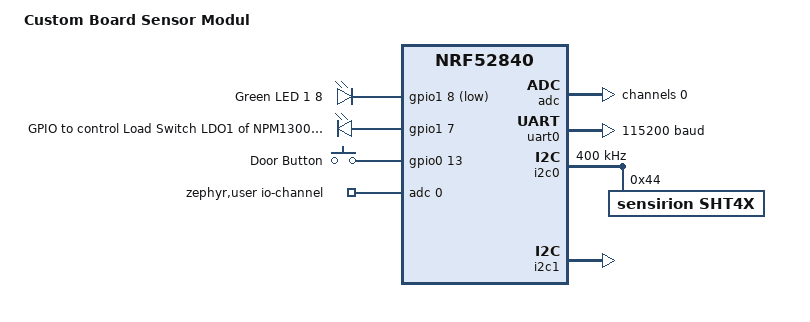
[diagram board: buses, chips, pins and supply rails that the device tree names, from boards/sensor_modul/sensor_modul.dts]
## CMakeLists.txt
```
#-------------------------------------------------------------------------------
# Zephyr Example Application
#
# Copyright (c) 2021 Nordic Semiconductor ASA
# SPDX-License-Identifier: Apache-2.0

#Re-direct the directory where the 'boards' directory is found from
#$ZEPHYR_BASE to this directory.
list(APPEND BOARD_ROOT ${CMAKE_CURRENT_SOURCE_DIR})
set(BOARD sensor_modul)
set(BOARD_FLASH_RUNNER pyocd)

cmake_minimum_required(VERSION 3.20.0)
find_package(Zephyr REQUIRED HINTS $ENV{ZEPHYR_BASE})

project(app LANGUAGES C)


target_sources(app PRIVATE
  src/main.c
  src/pmic.c
  src/sensors.c
  src/error_flags.c
)

zephyr_include_directories(include)
```

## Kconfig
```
# Copyright (c) 2021 Nordic Semiconductor ASA
# SPDX-License-Identifier: Apache-2.0
#
# This file is the application Kconfig entry point. All application Kconfig
# options can be defined here or included via other application Kconfig files.
# You can browse these options using the west targets menuconfig (terminal) or
# guiconfig (GUI).

menu "Zephyr"

config APP_USE_COMPENSATION
    bool "Use the T/RH compensation feature of the SGP40"
    default y

config APP_USE_HEATER
    bool "Use the Heater on the SHT4X"
    default n
    help
        Maximum duty cycle for using the heater is 5%

config APP_HEATER_HUMIDITY_THRESH
    int "RH [%] threshold above which the heater will be activated"
    range 0 99
    default 65
    depends on APP_USE_HEATER

config APP_HEATER_PULSE_POWER
    int "Heater Power Setting"
    range 0 2
    default 2
    depends on APP_USE_HEATER
    help
        0 -> High power heater pulse -> ~200 mW  @3.3V
        1 -> Medium power heater pulse -> ~110 mW  @3.3V
        2 -> Low power heater pulse -> ~20 mW  @3.3V

config APP_HEATER_PULSE_DURATION
    int "Heater Pulse Length Setting"
    range 0 1
    default 1
    depends on APP_USE_HEATER
    help
        0 -> Long heater pulse -> 1.1s
        1 -> Short heater pulse -> 0.11s

source "Kconfig.zephyr"
endmenu

module = APP
module-str = APP
source "subsys/logging/Kconfig.template.log_config"
```

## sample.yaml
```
# This file is provided so that the application can be compiled using Twister,
# the Zephyr testing tool. In this file, multiple combinations can be specified,
# so that you can easily test all of them locally or in CI.
sample:
  name: SensorNode_Modul
  description: Sensor Node with multiple sensors and BLE capabilities
  version: 1.0.0
  maintainer: Paul
  license: Apache-2.0
tests:
  sample.basic.blinky:
    tags:
      - LED
      - gpio
    filter: dt_enabled_alias_with_parent_compat("led0", "gpio-leds")
    depends_on: gpio
    harness: led
    integration_platforms:
      - frdm_k64f
```

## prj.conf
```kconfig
# Copyright (c) 2021 Nordic Semiconductor ASA
# SPDX-License-Identifier: Apache-2.0
#
# This file contains selected Kconfig options for the application.
CONFIG_GPIO=y

CONFIG_BT=y
CONFIG_BT_PERIPHERAL=y
CONFIG_BT_DEVICE_NAME="SN2"
# needed for longer ble advertisement data 
CONFIG_BT_EXT_ADV=y

CONFIG_REGULATOR=y

#CONFIG_LOG=y

# enable to use thread names
CONFIG_THREAD_NAME=y
CONFIG_SCHED_CPU_MASK=y
CONFIG_THREAD_ANALYZER=y

CONFIG_I2C=y
CONFIG_SENSOR=y
#CONFIG_SENSOR_LOG_LEVEL_DBG=y

CONFIG_PM=y
CONFIG_PM_DEVICE=y

# Enable logging for printk
CONFIG_LOG_PRINTK=y

CONFIG_SHELL=n
CONFIG_I2C_SHELL=n

# Increase stack size for the main thread and System Workqueue
CONFIG_SYSTEM_WORKQUEUE_STACK_SIZE=2048
CONFIG_MAIN_STACK_SIZE=2048

# Enable floating point format specifiers
CONFIG_CBPRINTF_FP_SUPPORT=y


# enable ADC
CONFIG_ADC=y

# fuel gauge enabled
#CONFIG_NRF_FUEl_GAUGE=y
```

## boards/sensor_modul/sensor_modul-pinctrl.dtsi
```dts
/*
 * Copyright (c) 2022 Nordic Semiconductor
 * SPDX-License-Identifier: Apache-2.0
 */

 &pinctrl {
	uart0_default: uart0_default {
		group1 {
			psels = <NRF_PSEL(UART_TX, 0, 6)>,
					<NRF_PSEL(UART_RTS, 0, 5)>;
		};
		group2 {
			psels = <NRF_PSEL(UART_RX, 0, 8)>,
				<NRF_PSEL(UART_CTS, 0, 7)>;
			bias-pull-up;
		};
	};

	uart0_sleep: uart0_sleep {
		group1 {
			psels = <NRF_PSEL(UART_TX, 0, 6)>,
				<NRF_PSEL(UART_RX, 0, 8)>,
				<NRF_PSEL(UART_RTS, 0, 5)>,
				<NRF_PSEL(UART_CTS, 0, 7)>;
			low-power-enable;
		};
	};

	uart1_default: uart1_default {
		group1 {
			psels = <NRF_PSEL(UART_RX, 1, 1)>;
			bias-pull-up;
		};
		group2 {
			psels = <NRF_PSEL(UART_TX, 1, 2)>;
		};
	};

	uart1_sleep: uart1_sleep {
		group1 {
			psels = <NRF_PSEL(UART_RX, 1, 1)>,
				<NRF_PSEL(UART_TX, 1, 2)>;
			low-power-enable;
		};
	};

	i2c0_default: i2c0_default {
		group1 {
			psels = <NRF_PSEL(TWIM_SDA, 0, 22)>,
				<NRF_PSEL(TWIM_SCL, 0, 20)>;
		};
	};

	i2c0_sleep: i2c0_sleep {
		group1 {
			psels = <NRF_PSEL(TWIM_SDA, 0, 22)>,
				<NRF_PSEL(TWIM_SCL, 0, 20)>;
			low-power-enable;
		};
	};

	i2c1_default: i2c1_default {
		group1 {
			psels = <NRF_PSEL(TWIM_SDA, 0, 15)>, // default: 30
				<NRF_PSEL(TWIM_SCL, 0, 17)>; // default: 31
		};
	};

	i2c1_sleep: i2c1_sleep {
		group1 {
			psels = <NRF_PSEL(TWIM_SDA, 0, 15)>, // default: 30
				<NRF_PSEL(TWIM_SCL, 0, 17)>; // default: 31
			low-power-enable;
		};
	};

	pwm0_default: pwm0_default {
		group1 {
			psels = <NRF_PSEL(PWM_OUT0, 0, 13)>;
			nordic,invert;
		};
	};

	pwm0_sleep: pwm0_sleep {
		group1 {
			psels = <NRF_PSEL(PWM_OUT0, 0, 13)>;
			low-power-enable;
		};
	};

	spi0_default: spi0_default {
		group1 {
			psels = <NRF_PSEL(SPIM_SCK, 0, 27)>,
				<NRF_PSEL(SPIM_MOSI, 0, 26)>,
				<NRF_PSEL(SPIM_MISO, 0, 29)>;
		};
	};

	spi0_sleep: spi0_sleep {
		group1 {
			psels = <NRF_PSEL(SPIM_SCK, 0, 27)>,
				<NRF_PSEL(SPIM_MOSI, 0, 26)>,
				<NRF_PSEL(SPIM_MISO, 0, 29)>;
			low-power-enable;
		};
	};

	spi1_default: spi1_default {
		group1 {
			psels = <NRF_PSEL(SPIM_SCK, 0, 31)>,
				<NRF_PSEL(SPIM_MOSI, 0, 30)>,
				<NRF_PSEL(SPIM_MISO, 1, 8)>;
		};
	};

	spi1_sleep: spi1_sleep {
		group1 {
			psels = <NRF_PSEL(SPIM_SCK, 0, 31)>,
				<NRF_PSEL(SPIM_MOSI, 0, 30)>,
				<NRF_PSEL(SPIM_MISO, 1, 8)>;
			low-power-enable;
		};
	};

	spi2_default: spi2_default {
		group1 {
			psels = <NRF_PSEL(SPIM_SCK, 0, 19)>,
				<NRF_PSEL(SPIM_MOSI, 0, 20)>,
				<NRF_PSEL(SPIM_MISO, 0, 21)>;
		};
	};

	spi2_sleep: spi2_sleep {
		group1 {
			psels = <NRF_PSEL(SPIM_SCK, 0, 19)>,
				<NRF_PSEL(SPIM_MOSI, 0, 20)>,
				<NRF_PSEL(SPIM_MISO, 0, 21)>;
			low-power-enable;
		};
	};

	qspi_default: qspi_default {
		group1 {
			psels = <NRF_PSEL(QSPI_SCK, 0, 19)>,
				<NRF_PSEL(QSPI_IO0, 0, 20)>,
				<NRF_PSEL(QSPI_IO1, 0, 21)>,
				<NRF_PSEL(QSPI_IO2, 0, 22)>,
				<NRF_PSEL(QSPI_IO3, 0, 23)>,
				<NRF_PSEL(QSPI_CSN, 0, 17)>;
			nordic,drive-mode = <NRF_DRIVE_H0H1>;
		};
	};

	qspi_sleep: qspi_sleep {
		group1 {
			psels = <NRF_PSEL(QSPI_SCK, 0, 19)>,
				<NRF_PSEL(QSPI_IO0, 0, 20)>,
				<NRF_PSEL(QSPI_IO1, 0, 21)>,
				<NRF_PSEL(QSPI_IO2, 0, 22)>,
				<NRF_PSEL(QSPI_IO3, 0, 23)>;
			low-power-enable;
		};
		group2 {
			psels = <NRF_PSEL(QSPI_CSN, 0, 17)>;
			low-power-enable;
			bias-pull-up;
		};
	};

	spi3_default: spi3_default {
		group1 {
			psels = <NRF_PSEL(SPIM_SCK, 1, 15)>,
				<NRF_PSEL(SPIM_MISO, 1, 14)>,
				<NRF_PSEL(SPIM_MOSI, 1, 13)>;
		};
	};

	spi3_sleep: spi3_sleep {
		group1 {
			psels = <NRF_PSEL(SPIM_SCK, 1, 15)>,
				<NRF_PSEL(SPIM_MISO, 1, 14)>,
				<NRF_PSEL(SPIM_MOSI, 1, 13)>;
			low-power-enable;
		};
	};

};
```

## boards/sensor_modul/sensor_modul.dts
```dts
/*
 * Copyright (c) 2024 Reisch Paul
 *
 * SPDX-License-Identifier: Apache-2.0
 */

/dts-v1/;
#include <nordic/nrf52840_qiaa.dtsi>
#include <nordic/nrf52840_partition.dtsi>
#include "sensor_modul-pinctrl.dtsi"
#include <zephyr/dt-bindings/input/input-event-codes.h>
#include <dt-bindings/regulator/npm1300.h>

/ {
	model = "Custom Board Sensor Modul";
	compatible = "others,sensor-modul";
	chosen {
		zephyr,console = &uart0;
		zephyr,shell-uart = &uart0;
		zephyr,uart-mcumgr = &uart0;
		zephyr,bt-mon-uart = &uart0;
		zephyr,bt-c2h-uart = &uart0;
	};

	leds {
		compatible = "gpio-leds";
		led0: led_0 {
			gpios = <&gpio1 8 (GPIO_ACTIVE_LOW)>; //GPIO_ACTIVE_LOW
			label = "Green LED 1 8";
		};
		loadsw0: loadsw_0 {
			gpios = <&gpio1 7 (GPIO_ACTIVE_HIGH | GPIO_PULL_DOWN)>;
			label = "GPIO to control Load Switch LDO1 of NPM1300 (GPIO2)";
		};
		// loadsw1: loadsw_1 {
		// 	gpios = <&gpio0 20 (GPIO_ACTIVE_LOW)>;
		// 	label = "GPIO to test";
		// };
	};

	buttons {
		compatible = "gpio-keys";
		door0: door_0 {
			gpios = <&gpio0 13 GPIO_ACTIVE_HIGH>;
			label = "Door Button";
			zephyr,code = <INPUT_KEY_1>;
		};
	};

	zephyr,user {
		io-channels = <&adc 0>;
	};
	// loadsw {
	// 	compatible = "gpios-keys";

	// };

	/* These aliases are provided for compatibility with samples */
	aliases {
		led0 = &led0;
		bootloader-led0 = &led0;
		mcuboot-led0 = &led0;
		loadsw0 = &loadsw0;
		door0 = &door0;
		// = &loadsw1;
	};
};


&reg0 {
	status = "disabled";
};

&reg1 {
	// regulator-initial-mode = <NRF5X_REG_MODE_DCDC>;
	status = "disabled";
};


&adc {
	status = "okay";
};

&uicr {
	gpio-as-nreset;
};

&gpiote {
	status = "okay";
};

&gpio0 {
	status = "okay";
	wakeup-source;
};

&gpio1 {
	status = "okay";
};

&uart0 {
	compatible = "nordic,nrf-uarte";
	status = "okay";
	current-speed = <115200>;
	pinctrl-0 = <&uart0_default>;
	pinctrl-1 = <&uart0_sleep>;
	pinctrl-names = "default", "sleep";
};

&i2c0 {
	compatible = "nordic,nrf-twi";
	status = "okay";
	/* Arduino compatible PINs */
	pinctrl-0 = <&i2c0_default>;
	pinctrl-1 = <&i2c0_sleep>;
	pinctrl-names = "default", "sleep";
};

&i2c1 {
	compatible = "nordic,nrf-twi";
	status = "disabled";
	/* Arduino compatible PINs */
	pinctrl-0 = <&i2c1_default>;
	pinctrl-1 = <&i2c1_sleep>;
	pinctrl-names = "default", "sleep";
};

// zephyr_udc0: &usbd {
// 	compatible = "nordic,nrf-usbd";
// 	status = "okay";
// 	usb_cdc_acm_uart: cdc-acm-uart {
// 		compatible = "zephyr,cdc-acm-uart";
// 	};
// };


&adc {
	#address-cells = <1>;
	#size-cells = <0>;

	channel@0 {
		reg = <0>;
		zephyr,gain = "ADC_GAIN_1_6";
		zephyr,reference = "ADC_REF_INTERNAL";
		zephyr,acquisition-time = <ADC_ACQ_TIME_DEFAULT>;
		zephyr,input-positive = <NRF_SAADC_AIN0>; 
		zephyr,resolution = <12>;
	};

};


// NPM1300
arduino_i2c: &i2c1 {
	compatible = "nordic,nrf-twi";
	status = "okay";
	pinctrl-0 = <&i2c1_default>;
	pinctrl-1 = <&i2c1_sleep>;
	pinctrl-names = "default", "sleep";
};

&arduino_i2c {
	npm1300_ek_pmic: pmic@6b {
		compatible = "nordic,npm1300";
		reg = <0x6b>;
		// ship-to-active-time = <96>;

		
		// long-press-reset = "one_button";

		npm1300_ek_gpio: gpio-controller {
			compatible = "nordic,npm1300-gpio";
			gpio-controller;
			#gpio-cells = <2>;
			ngpios = <5>;
		};

		npm1300_ek_regulators: regulators {
			compatible = "nordic,npm1300-regulator";

			/* limits are set to min/max allowed values */
			npm1300_ek_buck1: BUCK1 {
				regulator-min-microvolt = <1000000>;
				regulator-max-microvolt = <3300000>;
			};

			npm1300_ek_buck2: BUCK2 {
				regulator-min-microvolt = <1000000>;
				regulator-max-microvolt = <3300000>;
			};

			npm1300_ek_ldo1: LDO1 {
				regulator-min-microvolt = <1000000>;
				regulator-max-microvolt = <3300000>;
			};

			npm1300_ek_ldo2: LDO2 {
				regulator-min-microvolt = <1000000>;
				regulator-max-microvolt = <3300000>;
			};
		};

		npm1300_ek_charger: charger {
			compatible = "nordic,npm1300-charger";
			term-microvolt = <4150000>;
			term-warm-microvolt = <3600000>;
			// term-current-percent = <10>;
			current-microamp = <150000>;
			// trickle-microvolt = <2500000>;	
			dischg-limit-microamp = <1000000>;
			vbus-limit-microamp = <500000>;
			thermistor-ohms = <10000>;
			thermistor-beta = <3380>;
			charging-enable;
		};

		npm1300_ek_buttons: buttons {
			compatible = "gpio-keys";
			pmic_button0: pmic_button_0 {
				gpios = < &npm1300_ek_gpio 0 GPIO_ACTIVE_HIGH>;
				label = "Pmic button switch 0";
			zephyr,code = <INPUT_KEY_0>;
			};
		};

		npm1300_ek_leds: leds {
			compatible = "nordic,npm1300-led";
			nordic,led0-mode = "error";
			nordic,led1-mode = "charging";
			nordic,led2-mode = "host";
		};
	};
};

 
&npm1300_ek_regulators {
	dvs-gpios = <&gpio0 16 GPIO_ACTIVE_LOW>,
		    	<&gpio0 18 GPIO_ACTIVE_LOW>;
};

&npm1300_ek_buck1 {
	regulator-always-on;
	regulator-init-microvolt = <1800000>;
};

&npm1300_ek_buck2 {
	regulator-boot-off;
};

&npm1300_ek_ldo1 {
	regulator-boot-on;
	regulator-initial-mode = <NPM1300_LDSW_MODE_LDSW>;
	regulator-boot-on;
	//nordic,anomaly38-disable-workaround;
	regulator-init-microvolt = <1800000>; // 1.8V
	enable-gpios = <&npm1300_ek_gpio 2 GPIO_ACTIVE_LOW>;
};

&npm1300_ek_ldo2 {
	regulator-boot-off;
};

&npm1300_ek_pmic {
	host-int-gpios = <&gpio0 15 0>;
	pmic-int-pin = <3>;
};



&i2c0 {
	status = "okay";
	clock-frequency = <I2C_BITRATE_FAST>; // 400kHz
	sht4x@44 {
		status = "okay";
		compatible = "sensirion,sht4x";
		reg = <0x44>;
		repeatability = <2>;
	};
};


// //RTC with 32.768 kHz crystal
// &clock {
//     lf_clk {
//         source = "XTAL";
//     };
// };

// &rtc1 { // Real Time Clock for wakeup from System Off
//     status = "okay";
// };
```

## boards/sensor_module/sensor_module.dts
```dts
/*
 * Copyright (c) 2024 Reisch Paul
 *
 * SPDX-License-Identifier: Apache-2.0
 */

/dts-v1/;
#include <nordic/nrf52840_qiaa.dtsi>
#include <nordic/nrf52840_partition.dtsi>
#include "sensor_module-pinctrl.dtsi"
#include <zephyr/dt-bindings/input/input-event-codes.h>
#include <dt-bindings/regulator/npm1300.h>

/ {
	model = "Custom Board Sensor Module";
	compatible = "others,sensor-module";
	chosen {
		zephyr,console = &uart0;
		zephyr,shell-uart = &uart0;
		zephyr,uart-mcumgr = &uart0;
		zephyr,bt-mon-uart = &uart0;
		zephyr,bt-c2h-uart = &uart0;
	};

	leds {
		compatible = "gpio-leds";
		led0: led_0 {
			gpios = <&gpio1 7 (GPIO_ACTIVE_LOW)>; //GPIO_ACTIVE_LOW
			label = "Green LED 1 8";
		};
		loadsw1: loadsw_1 {
			gpios = <&gpio1 7 (GPIO_ACTIVE_HIGH | GPIO_PULL_DOWN)>;
			label = "GPIO to control Load Switch LDO1 of NPM1300 (GPIO2)";
		};
		// loadsw2: loadsw_2 {
		// 	gpios = <&gpio0 20 (GPIO_ACTIVE_LOW)>;
		// 	label = "GPIO to test";
		// };
	};
	// magsensor {
	// 	compatible = "gpio-keys";
	// 	button0: button_0 {
	// 		gpios = <&gpio0 15 (GPIO_PULL_UP | GPIO_ACTIVE_LOW)>;
	// 		label = "Mag sensor switch 0";
	// 		zephyr,code = <INPUT_KEY_0>;
	// 	};
	// };
	buttons {
		compatible = "gpio-keys";
		button0: button_0 {
			gpios = < &gpio1 9 (GPIO_PULL_UP | GPIO_ACTIVE_LOW) >;
			label = "User button";
		};
	};



	zephyr,user {
		io-channels = <&adc 0>;
	};
	// loadsw {
	// 	compatible = "gpios-keys";

	// };

	/* These aliases are provided for compatibility with samples */
	aliases {
		led0 = &led0;
		bootloader-led0 = &led0;
		mcuboot-led0 = &led0;
		loadsw1 = &loadsw1;
		//loadsw2 = &loadsw2;
		button0 = &button0;
	};
};


&reg0 {
	status = "disabled";
};

&reg1 {
	// regulator-initial-mode = <NRF5X_REG_MODE_DCDC>;
	status = "disabled";
};


&adc {
	status = "okay";
};

&uicr {
	gpio-as-nreset;
};

&gpiote {
	status = "okay";
};

&gpio0 {
	status = "okay";
};

&gpio1 {
	status = "okay";
};

&uart0 {
	compatible = "nordic,nrf-uarte";
	status = "okay";
	current-speed = <115200>;
	pinctrl-0 = <&uart0_default>;
	pinctrl-1 = <&uart0_sleep>;
	pinctrl-names = "default", "sleep";
};

&i2c0 {
	compatible = "nordic,nrf-twi";
	status = "okay";
	/* Arduino compatible PINs */
	pinctrl-0 = <&i2c0_default>;
	pinctrl-1 = <&i2c0_sleep>;
	pinctrl-names = "default", "sleep";
};

&i2c1 {
	compatible = "nordic,nrf-twi";
	status = "disabled";
	/* Arduino compatible PINs */
	pinctrl-0 = <&i2c1_default>;
	pinctrl-1 = <&i2c1_sleep>;
	pinctrl-names = "default", "sleep";
};

zephyr_udc0: &usbd {
	compatible = "nordic,nrf-usbd";
	status = "okay";
	usb_cdc_acm_uart: cdc-acm-uart {
		compatible = "zephyr,cdc-acm-uart";
	};
};


&adc {
	#address-cells = <1>;
	#size-cells = <0>;

	channel@0 {
		reg = <0>;
		zephyr,gain = "ADC_GAIN_1_6";
		zephyr,reference = "ADC_REF_INTERNAL";
		zephyr,acquisition-time = <ADC_ACQ_TIME_DEFAULT>;
		zephyr,input-positive = <NRF_SAADC_AIN0>; 
		zephyr,resolution = <12>;
	};

};


// NPM1300

arduino_i2c: &i2c1 {
	compatible = "nordic,nrf-twi";
	status = "okay";
	pinctrl-0 = <&i2c1_default>;
	pinctrl-1 = <&i2c1_sleep>;
	pinctrl-names = "default", "sleep";
};

&arduino_i2c {
	npm1300_ek_pmic: pmic@6b {
		compatible = "nordic,npm1300";
		reg = <0x6b>;

		npm1300_ek_gpio: gpio-controller {
			compatible = "nordic,npm1300-gpio";
			gpio-controller;
			#gpio-cells = <2>;
			ngpios = <5>;
		};

		npm1300_ek_regulators: regulators {
			compatible = "nordic,npm1300-regulator";

			/* limits are set to min/max allowed values */
			npm1300_ek_buck1: BUCK1 {
				regulator-min-microvolt = <1000000>;
				regulator-max-microvolt = <3300000>;
			};

			npm1300_ek_buck2: BUCK2 {
				regulator-min-microvolt = <1000000>;
				regulator-max-microvolt = <3300000>;
			};

			npm1300_ek_ldo1: LDO1 {
				regulator-min-microvolt = <1000000>;
				regulator-max-microvolt = <3300000>;
			};

			npm1300_ek_ldo2: LDO2 {
				regulator-min-microvolt = <1000000>;
				regulator-max-microvolt = <3300000>;
			};
		};

		npm1300_ek_charger: charger {
			compatible = "nordic,npm1300-charger";
			term-microvolt = <4180000>;
			term-warm-microvolt = <4000000>;
			current-microamp = <200000>;
			dischg-limit-microamp = <1000000>;
			vbus-limit-microamp = <500000>;
			thermistor-ohms = <0>;
			thermistor-beta = <3380>;
			charging-enable;
			vbatlow-charge-enable;
		};

		npm1300_ek_buttons: buttons {
			compatible = "gpio-keys";
			pmic_button0: pmic_button_0 {
				gpios = < &npm1300_ek_gpio 0 GPIO_ACTIVE_HIGH>;
				label = "Pmic button switch 0";
			zephyr,code = <INPUT_KEY_0>;
			};
		};

		npm1300_ek_leds: leds {
			compatible = "nordic,npm1300-led";
			nordic,led0-mode = "error";
			nordic,led1-mode = "charging";
			nordic,led2-mode = "host";
		};
	};
};




&npm1300_ek_regulators {
	dvs-gpios = <&gpio0 16 GPIO_ACTIVE_LOW>,
		    	<&gpio1 7 GPIO_ACTIVE_LOW>;
};

&npm1300_ek_buck1 {
	regulator-init-microvolt = <2500000>;
	// regulator-boot-off;
};

&npm1300_ek_buck2 {
	regulator-boot-off;
};

&npm1300_ek_ldo1 {
	//regulator-boot-on;
	regulator-initial-mode = <NPM1300_LDSW_MODE_LDSW>;
	enable-gpios = <&npm1300_ek_gpio 2 GPIO_ACTIVE_LOW>;
};

&npm1300_ek_ldo2 {
	regulator-boot-off;
};

&npm1300_ek_pmic {
	host-int-gpios = <&gpio0 15 0>;
	pmic-int-pin = <1>;
};



// &i2c0 {
// 	status = "okay";
// 	clock-frequency = <I2C_BITRATE_FAST>;
// 	sht4x@44 {
// 		status = "okay";
// 		compatible = "sensirion,sht4x";
// 		reg = <0x44>;
// 		repeatability = <2>;
// 		//zephyr,deferred-init;
// 	};
// };
```

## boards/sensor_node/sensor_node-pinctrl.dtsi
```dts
/*
 * Copyright (c) 2022 Nordic Semiconductor
 * SPDX-License-Identifier: Apache-2.0
 */

 &pinctrl {
	uart0_default: uart0_default {
		group1 {
			psels = <NRF_PSEL(UART_TX, 0, 6)>,
					<NRF_PSEL(UART_RTS, 0, 5)>;
		};
		group2 {
			psels = <NRF_PSEL(UART_RX, 0, 8)>,
				<NRF_PSEL(UART_CTS, 0, 7)>;
			bias-pull-up;
		};
	};

	uart0_sleep: uart0_sleep {
		group1 {
			psels = <NRF_PSEL(UART_TX, 0, 6)>,
				<NRF_PSEL(UART_RX, 0, 8)>,
				<NRF_PSEL(UART_RTS, 0, 5)>,
				<NRF_PSEL(UART_CTS, 0, 7)>;
			low-power-enable;
		};
	};

	uart1_default: uart1_default {
		group1 {
			psels = <NRF_PSEL(UART_RX, 1, 1)>;
			bias-pull-up;
		};
		group2 {
			psels = <NRF_PSEL(UART_TX, 1, 2)>;
		};
	};

	uart1_sleep: uart1_sleep {
		group1 {
			psels = <NRF_PSEL(UART_RX, 1, 1)>,
				<NRF_PSEL(UART_TX, 1, 2)>;
			low-power-enable;
		};
	};

	i2c0_default: i2c0_default {
		group1 {
			psels = <NRF_PSEL(TWIM_SDA, 0, 26)>,
				<NRF_PSEL(TWIM_SCL, 0, 27)>;
			bias-pull-up;
		};
	};

	i2c0_sleep: i2c0_sleep {
		group1 {
			psels = <NRF_PSEL(TWIM_SDA, 0, 26)>,
				<NRF_PSEL(TWIM_SCL, 0, 27)>;
			low-power-enable;
			bias-pull-up;
		};
	};

	i2c1_default: i2c1_default {
		group1 {
			psels = <NRF_PSEL(TWIM_SDA, 0, 14)>, // default: 30
				<NRF_PSEL(TWIM_SCL, 0, 13)>; // default: 31
		};
	};

	i2c1_sleep: i2c1_sleep {
		group1 {
			psels = <NRF_PSEL(TWIM_SDA, 0, 14)>, // default: 30
				<NRF_PSEL(TWIM_SCL, 0, 13)>; // default: 31
			low-power-enable;
		};
	};

	pwm0_default: pwm0_default {
		group1 {
			psels = <NRF_PSEL(PWM_OUT0, 0, 13)>;
			nordic,invert;
		};
	};

	pwm0_sleep: pwm0_sleep {
		group1 {
			psels = <NRF_PSEL(PWM_OUT0, 0, 13)>;
			low-power-enable;
		};
	};

	spi0_default: spi0_default {
		group1 {
			psels = <NRF_PSEL(SPIM_SCK, 0, 27)>,
				<NRF_PSEL(SPIM_MOSI, 0, 26)>,
				<NRF_PSEL(SPIM_MISO, 0, 29)>;
		};
	};

	spi0_sleep: spi0_sleep {
		group1 {
			psels = <NRF_PSEL(SPIM_SCK, 0, 27)>,
				<NRF_PSEL(SPIM_MOSI, 0, 26)>,
				<NRF_PSEL(SPIM_MISO, 0, 29)>;
			low-power-enable;
		};
	};

	spi1_default: spi1_default {
		group1 {
			psels = <NRF_PSEL(SPIM_SCK, 0, 31)>,
				<NRF_PSEL(SPIM_MOSI, 0, 30)>,
				<NRF_PSEL(SPIM_MISO, 1, 8)>;
		};
	};

	spi1_sleep: spi1_sleep {
		group1 {
			psels = <NRF_PSEL(SPIM_SCK, 0, 31)>,
				<NRF_PSEL(SPIM_MOSI, 0, 30)>,
				<NRF_PSEL(SPIM_MISO, 1, 8)>;
			low-power-enable;
		};
	};

	spi2_default: spi2_default {
		group1 {
			psels = <NRF_PSEL(SPIM_SCK, 0, 19)>,
				<NRF_PSEL(SPIM_MOSI, 0, 20)>,
				<NRF_PSEL(SPIM_MISO, 0, 21)>;
		};
	};

	spi2_sleep: spi2_sleep {
		group1 {
			psels = <NRF_PSEL(SPIM_SCK, 0, 19)>,
				<NRF_PSEL(SPIM_MOSI, 0, 20)>,
				<NRF_PSEL(SPIM_MISO, 0, 21)>;
			low-power-enable;
		};
	};

	qspi_default: qspi_default {
		group1 {
			psels = <NRF_PSEL(QSPI_SCK, 0, 19)>,
				<NRF_PSEL(QSPI_IO0, 0, 20)>,
				<NRF_PSEL(QSPI_IO1, 0, 21)>,
				<NRF_PSEL(QSPI_IO2, 0, 22)>,
				<NRF_PSEL(QSPI_IO3, 0, 23)>,
				<NRF_PSEL(QSPI_CSN, 0, 17)>;
			nordic,drive-mode = <NRF_DRIVE_H0H1>;
		};
	};

	qspi_sleep: qspi_sleep {
		group1 {
			psels = <NRF_PSEL(QSPI_SCK, 0, 19)>,
				<NRF_PSEL(QSPI_IO0, 0, 20)>,
				<NRF_PSEL(QSPI_IO1, 0, 21)>,
				<NRF_PSEL(QSPI_IO2, 0, 22)>,
				<NRF_PSEL(QSPI_IO3, 0, 23)>;
			low-power-enable;
		};
		group2 {
			psels = <NRF_PSEL(QSPI_CSN, 0, 17)>;
			low-power-enable;
			bias-pull-up;
		};
	};

	spi3_default: spi3_default {
		group1 {
			psels = <NRF_PSEL(SPIM_SCK, 1, 15)>,
				<NRF_PSEL(SPIM_MISO, 1, 14)>,
				<NRF_PSEL(SPIM_MOSI, 1, 13)>;
		};
	};

	spi3_sleep: spi3_sleep {
		group1 {
			psels = <NRF_PSEL(SPIM_SCK, 1, 15)>,
				<NRF_PSEL(SPIM_MISO, 1, 14)>,
				<NRF_PSEL(SPIM_MOSI, 1, 13)>;
			low-power-enable;
		};
	};

};
```

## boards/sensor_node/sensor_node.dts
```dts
/*
 * Copyright (c) 2024 Reisch Paul
 *
 * SPDX-License-Identifier: Apache-2.0
 */

/dts-v1/;
#include <nordic/nrf52840_qiaa.dtsi>
#include <nordic/nrf52840_partition.dtsi>
#include "sensor_node-pinctrl.dtsi"
#include <zephyr/dt-bindings/input/input-event-codes.h>
#include <dt-bindings/regulator/npm1300.h>

/ {
	model = "Custom Board Sensor Node";
	compatible = "others,sensor-node";
	chosen {
		zephyr,console = &usb_cdc_acm_uart;
		zephyr,shell-uart = &usb_cdc_acm_uart;
		zephyr,uart-mcumgr = &usb_cdc_acm_uart;
		zephyr,bt-mon-uart = &usb_cdc_acm_uart;
		zephyr,bt-c2h-uart = &usb_cdc_acm_uart;
	};

	leds {
		compatible = "gpio-leds";
		led0: led_0 {
			gpios = <&gpio1 8 (GPIO_ACTIVE_LOW)>; //GPIO_ACTIVE_LOW
			label = "Green LED 1 8";
		};
		loadsw0: loadsw_0 {
			gpios = <&gpio0 16 (GPIO_ACTIVE_HIGH | GPIO_PULL_DOWN)>;
			label = "GPIO to control Load Switch LDO1 of NPM1300 (GPIO2)";
		};
		loadsw1: loadsw_1 {
			gpios = <&gpio0 20 (GPIO_ACTIVE_LOW)>;
			label = "GPIO to test";
		};
	};

	zephyr,user {
		io-channels = <&adc 0>;
	};
	// loadsw {
	// 	compatible = "gpios-keys";

	// };

	/* These aliases are provided for compatibility with samples */
	aliases {
		led0 = &led0;
		bootloader-led0 = &led0;
		mcuboot-led0 = &led0;
		loadsw0 = &loadsw0;
		loadsw1 = &loadsw1;
	};
};


&reg0 {
	status = "disabled";
};

&reg1 {
	// regulator-initial-mode = <NRF5X_REG_MODE_DCDC>;
	status = "disabled";
};


&adc {
	status = "okay";
};

&uicr {
	gpio-as-nreset;
};

&gpiote {
	status = "okay";
};

&gpio0 {
	status = "okay";
};

&gpio1 {
	status = "okay";
};

&uart0 {
	compatible = "nordic,nrf-uarte";
	status = "okay";
	current-speed = <115200>;
	pinctrl-0 = <&uart0_default>;
	pinctrl-1 = <&uart0_sleep>;
	pinctrl-names = "default", "sleep";
};

&i2c0 {
	compatible = "nordic,nrf-twi";
	status = "okay";
	/* Arduino compatible PINs */
	pinctrl-0 = <&i2c0_default>;
	pinctrl-1 = <&i2c0_sleep>;
	pinctrl-names = "default", "sleep";
};

&i2c1 {
	compatible = "nordic,nrf-twi";
	status = "disabled";
	/* Arduino compatible PINs */
	pinctrl-0 = <&i2c1_default>;
	pinctrl-1 = <&i2c1_sleep>;
	pinctrl-names = "default", "sleep";
};

zephyr_udc0: &usbd {
	compatible = "nordic,nrf-usbd";
	status = "okay";
	usb_cdc_acm_uart: cdc-acm-uart {
		compatible = "zephyr,cdc-acm-uart";
	};
};


&adc {
	#address-cells = <1>;
	#size-cells = <0>;

	channel@0 {
		reg = <0>;
		zephyr,gain = "ADC_GAIN_1_6";
		zephyr,reference = "ADC_REF_INTERNAL";
		zephyr,acquisition-time = <ADC_ACQ_TIME_DEFAULT>;
		zephyr,input-positive = <NRF_SAADC_AIN0>; 
		zephyr,resolution = <12>;
	};

};


// NPM1300

arduino_i2c: &i2c1 {
	compatible = "nordic,nrf-twi";
	status = "okay";
	pinctrl-0 = <&i2c1_default>;
	pinctrl-1 = <&i2c1_sleep>;
	pinctrl-names = "default", "sleep";
};

&arduino_i2c {
	npm1300_ek_pmic: pmic@6b {
		compatible = "nordic,npm1300";
		reg = <0x6b>;

		npm1300_ek_gpio: gpio-controller {
			compatible = "nordic,npm1300-gpio";
			gpio-controller;
			#gpio-cells = <2>;
			ngpios = <5>;
		};

		npm1300_ek_regulators: regulators {
			compatible = "nordic,npm1300-regulator";

			/* limits are set to min/max allowed values */
			npm1300_ek_buck1: BUCK1 {
				regulator-min-microvolt = <1000000>;
				regulator-max-microvolt = <3300000>;
			};

			npm1300_ek_buck2: BUCK2 {
				regulator-min-microvolt = <1000000>;
				regulator-max-microvolt = <3300000>;
			};

			npm1300_ek_ldo1: LDO1 {
				regulator-min-microvolt = <1000000>;
				regulator-max-microvolt = <3300000>;
			};

			npm1300_ek_ldo2: LDO2 {
				regulator-min-microvolt = <1000000>;
				regulator-max-microvolt = <3300000>;
			};
		};

		npm1300_ek_charger: charger {
			compatible = "nordic,npm1300-charger";
			term-microvolt = <4150000>;
			term-warm-microvolt = <4000000>;
			current-microamp = <150000>;
			dischg-limit-microamp = <1000000>;
			vbus-limit-microamp = <500000>;
			thermistor-ohms = <10000>;
			thermistor-beta = <3380>;
			charging-enable;
		};

		npm1300_ek_buttons: buttons {
			compatible = "gpio-keys";
			pmic_button0: pmic_button_0 {
				gpios = < &npm1300_ek_gpio 0 GPIO_ACTIVE_HIGH>;
				label = "Pmic button switch 0";
			zephyr,code = <INPUT_KEY_0>;
			};
		};

		npm1300_ek_leds: leds {
			compatible = "nordic,npm1300-led";
			nordic,led0-mode = "error";
			nordic,led1-mode = "charging";
			nordic,led2-mode = "host";
		};
	};
};




&npm1300_ek_regulators {
	dvs-gpios = <&gpio0 16 GPIO_ACTIVE_LOW>,
		    	<&gpio0 18 GPIO_ACTIVE_LOW>;
};

&npm1300_ek_buck1 {
	regulator-init-microvolt = <1800000>;
	// regulator-boot-off;
};

&npm1300_ek_buck2 {
	regulator-boot-off;
};

&npm1300_ek_ldo1 {
	regulator-boot-off;
	regulator-initial-mode = <NPM1300_LDSW_MODE_LDO>;
	enable-gpios = <&npm1300_ek_gpio 2 GPIO_ACTIVE_HIGH>;
};

&npm1300_ek_ldo2 {
	regulator-boot-off;
};

&npm1300_ek_pmic {
	host-int-gpios = <&gpio0 15 0>;
	pmic-int-pin = <3>;
};



&i2c0 {
	status = "okay";
	clock-frequency = <I2C_BITRATE_FAST>;
	sht4x@44 {
		status = "okay";
		compatible = "sensirion,sht4x";
		reg = <0x44>;
		repeatability = <2>;
		//zephyr,deferred-init;
	};
};
```

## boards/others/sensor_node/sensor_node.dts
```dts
/*
 * Copyright (c) 2024 Reisch Paul
 *
 * SPDX-License-Identifier: Apache-2.0
 */

/dts-v1/;
#include <nordic/nrf52840_qiaa.dtsi>
#include <nordic/nrf52840_partition.dtsi>
#include "sensor_node-pinctrl.dtsi"
#include <zephyr/dt-bindings/input/input-event-codes.h>
#include <dt-bindings/regulator/npm1300.h>

/ {
	model = "Custom Board Sensor Node";
	compatible = "others,sensor-node";
	chosen {
		zephyr,console = &uart0;
		zephyr,shell-uart = &uart0;
		zephyr,uart-mcumgr = &uart0;
		zephyr,bt-mon-uart = &uart0;
		zephyr,bt-c2h-uart = &uart0;
	};

	leds {
		compatible = "gpio-leds";
		led0: led_0 {
			gpios = <&gpio1 8 (GPIO_ACTIVE_LOW)>; //GPIO_ACTIVE_LOW
			label = "Green LED 1 8";
		};
		loadsw0: loadsw_0 {
			gpios = <&gpio1 7 (GPIO_ACTIVE_HIGH | GPIO_PULL_DOWN)>;
			label = "GPIO to control Load Switch LDO1 of NPM1300 (GPIO2)";
		};
		// loadsw1: loadsw_1 {
		// 	gpios = <&gpio0 20 (GPIO_ACTIVE_LOW)>;
		// 	label = "GPIO to test";
		// };
	};

	zephyr,user {
		io-channels = <&adc 0>;
	};
	// loadsw {
	// 	compatible = "gpios-keys";

	// };

	/* These aliases are provided for compatibility with samples */
	aliases {
		led0 = &led0;
		bootloader-led0 = &led0;
		mcuboot-led0 = &led0;
		loadsw0 = &loadsw0;
		// = &loadsw1;
	};
};


&reg0 {
	status = "disabled";
};

&reg1 {
	// regulator-initial-mode = <NRF5X_REG_MODE_DCDC>;
	status = "disabled";
};


&adc {
	status = "okay";
};

&uicr {
	gpio-as-nreset;
};

&gpiote {
	status = "okay";
};

&gpio0 {
	status = "okay";
};

&gpio1 {
	status = "okay";
};

&uart0 {
	compatible = "nordic,nrf-uarte";
	status = "okay";
	current-speed = <115200>;
	pinctrl-0 = <&uart0_default>;
	pinctrl-1 = <&uart0_sleep>;
	pinctrl-names = "default", "sleep";
};

&i2c0 {
	compatible = "nordic,nrf-twi";
	status = "okay";
	/* Arduino compatible PINs */
	pinctrl-0 = <&i2c0_default>;
	pinctrl-1 = <&i2c0_sleep>;
	pinctrl-names = "default", "sleep";
};

&i2c1 {
	compatible = "nordic,nrf-twi";
	status = "disabled";
	/* Arduino compatible PINs */
	pinctrl-0 = <&i2c1_default>;
	pinctrl-1 = <&i2c1_sleep>;
	pinctrl-names = "default", "sleep";
};

// zephyr_udc0: &usbd {
// 	compatible = "nordic,nrf-usbd";
// 	status = "okay";
// 	usb_cdc_acm_uart: cdc-acm-uart {
// 		compatible = "zephyr,cdc-acm-uart";
// 	};
// };


&adc {
	#address-cells = <1>;
	#size-cells = <0>;

	channel@0 {
		reg = <0>;
		zephyr,gain = "ADC_GAIN_1_6";
		zephyr,reference = "ADC_REF_INTERNAL";
		zephyr,acquisition-time = <ADC_ACQ_TIME_DEFAULT>;
		zephyr,input-positive = <NRF_SAADC_AIN0>; 
		zephyr,resolution = <12>;
	};

};


// NPM1300
arduino_i2c: &i2c1 {
	compatible = "nordic,nrf-twi";
	status = "okay";
	pinctrl-0 = <&i2c1_default>;
	pinctrl-1 = <&i2c1_sleep>;
	pinctrl-names = "default", "sleep";
};

&arduino_i2c {
	npm1300_ek_pmic: pmic@6b {
		compatible = "nordic,npm1300";
		reg = <0x6b>;
		// ship-to-active-time = <96>;

		
		// long-press-reset = "one_button";

		npm1300_ek_gpio: gpio-controller {
			compatible = "nordic,npm1300-gpio";
			gpio-controller;
			#gpio-cells = <2>;
			ngpios = <5>;
		};

		npm1300_ek_regulators: regulators {
			compatible = "nordic,npm1300-regulator";

			/* limits are set to min/max allowed values */
			npm1300_ek_buck1: BUCK1 {
				regulator-min-microvolt = <1000000>;
				regulator-max-microvolt = <3300000>;
			};

			npm1300_ek_buck2: BUCK2 {
				regulator-min-microvolt = <1000000>;
				regulator-max-microvolt = <3300000>;
			};

			npm1300_ek_ldo1: LDO1 {
				regulator-min-microvolt = <1000000>;
				regulator-max-microvolt = <3300000>;
			};

			npm1300_ek_ldo2: LDO2 {
				regulator-min-microvolt = <1000000>;
				regulator-max-microvolt = <3300000>;
			};
		};

		npm1300_ek_charger: charger {
			compatible = "nordic,npm1300-charger";
			term-microvolt = <4150000>;
			term-warm-microvolt = <3600000>;
			// term-current-percent = <10>;
			current-microamp = <100000>;
			// trickle-microvolt = <2500000>;	
			dischg-limit-microamp = <1000000>;
			vbus-limit-microamp = <500000>;
			thermistor-ohms = <10000>;
			thermistor-beta = <3380>;
			charging-enable;
		};

		npm1300_ek_buttons: buttons {
			compatible = "gpio-keys";
			pmic_button0: pmic_button_0 {
				gpios = < &npm1300_ek_gpio 0 GPIO_ACTIVE_HIGH>;
				label = "Pmic button switch 0";
			zephyr,code = <INPUT_KEY_0>;
			};
		};

		npm1300_ek_leds: leds {
			compatible = "nordic,npm1300-led";
			nordic,led0-mode = "error";
			nordic,led1-mode = "charging";
			nordic,led2-mode = "host";
		};
	};
};

 
&npm1300_ek_regulators {
	dvs-gpios = <&gpio0 16 GPIO_ACTIVE_LOW>,
		    	<&gpio0 18 GPIO_ACTIVE_LOW>;
};

&npm1300_ek_buck1 {
	regulator-always-on;
	regulator-init-microvolt = <1800000>;
	// regulator-boot-off;
};

&npm1300_ek_buck2 {
	regulator-boot-off;
};

&npm1300_ek_ldo1 {
	//regulator-always-on;
	regulator-boot-on;
	regulator-initial-mode = <NPM1300_LDSW_MODE_LDSW>;
	//nordic,anomaly38-disable-workaround;
	regulator-init-microvolt = <1800000>; // 1.8V
	//regulator-initial-mode = <NPM1300_LDSW_MODE_LDSW>;
	enable-gpios = <&npm1300_ek_gpio 2 GPIO_ACTIVE_LOW>;
};

&npm1300_ek_ldo2 {
	regulator-boot-off;
};

&npm1300_ek_pmic {
	host-int-gpios = <&gpio0 15 0>;
	pmic-int-pin = <3>;
};



// &i2c0 {
// 	status = "okay";
// 	clock-frequency = <I2C_BITRATE_FAST>;
// 	sht4x@44 {
// 		status = "okay";
// 		compatible = "sensirion,sht4x";
// 		reg = <0x44>;
// 		repeatability = <2>;
// 		zephyr,deferred-init;
// 	};
// };
```

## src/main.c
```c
/*
 * Copyright (c) 2016 Intel Corporation
 *
 * SPDX-License-Identifier: Apache-2.0
 */

// INCLUDES

#include <stdio.h>
#include <zephyr/kernel.h>
#include <zephyr/logging/log.h>

#include <zephyr/bluetooth/bluetooth.h>
#include <zephyr/bluetooth/uuid.h>

#include "pmic.h"
#include "sensors.h"
#include <math.h>

// ADC Stuff

#include <zephyr/pm/pm.h>
#include <zephyr/pm/device.h>

#include <hal/nrf_rtc.h>
#include <hal/nrf_ppi.h>
#include <hal/nrf_power.h>

// RTC and Wakeup
#include <zephyr/drivers/counter.h>

#include "error_flags.h"

const struct device *uart_dev = DEVICE_DT_GET(DT_NODELABEL(uart0));
const struct device *i2c_dev = DEVICE_DT_GET(DT_NODELABEL(i2c0));



LOG_MODULE_REGISTER(Sensor_Modul, LOG_LEVEL_DBG);

/* 1000 msec = 1 sec */
#define SLEEP_TIME_M 1000*60*5  // 10 minutes

/* The devicetree node identifier for the "led0" alias. */
#define LED0_NODE DT_ALIAS(led0)

/*
 * A build error on this line means your board is unsupported.
 * See the sample documentation for information on how to fix this.
 */
static const struct gpio_dt_spec led = GPIO_DT_SPEC_GET(LED0_NODE, gpios);



// RTC

// const struct device *rtc = DEVICE_DT_GET(DT_NODELABEL(rtc1));

// counter_start(rtc);
// counter_set_channel_alarm(rtc, 0, &(struct counter_alarm_cfg){
//     .ticks = counter_us_to_ticks(rtc, 60000000), // 60s
//     .callback = rtc_handler,
//     .user_data = NULL,
//     .flags = 0
// });


// void setup_rtc_wakeup(void)
// {
// 	NRF_RTC1->PRESCALER = 0;		// 32.768 kHz
// 	NRF_RTC1->CC[0] = 32768 * 1000; // Wake after ~10 seconds
// 	NRF_RTC1->EVTENSET = RTC_EVTENSET_COMPARE0_Msk;
// 	NRF_RTC1->INTENSET = RTC_INTENSET_COMPARE0_Msk;
// 	NRF_RTC1->TASKS_START = 1;
// }

// void setup_rtc_wakeup_ppi(void) {
//     NRF_PPI->CH[0].EEP = (uint32_t)&NRF_RTC1->EVENTS_COMPARE[0];
//     NRF_PPI->CH[0].TEP = (uint32_t)&NRF_POWER->TASKS_CONSTLAT;  // or SYSTEMOFF wakeup task
//     NRF_PPI->CHENSET = PPI_CHENSET_CH0_Msk;
// }

// BLE and BTHome Service Data
#define DEVICE_NAME CONFIG_BT_DEVICE_NAME
#define DEVICE_NAME_LEN (sizeof(DEVICE_NAME) - 1)

#define SERVICE_DATA_LEN 17 	// 13
#define SERVICE_UUID 0xfcd2 	/* BTHome service UUID */
#define IDX_BAT 4				/* Index of byte of Bat in service data*/
#define IDX_TEMPL 6				/* Index of lo byte of temp in service data*/
#define IDX_TEMPH 7				/* Index of hi byte of temp in service data*/
#define IDX_HUML 9				/* Index of lo byte of hum in service data*/
#define IDX_HUMH 10				/* Index of hi byte of hum in service data*/
#define IDX_ERROR 14			/* Index of byte of count in service data*/
#define IDX_WINDOW_STATE 16		/* Index of byte of count in service data*/


#define ADV_PARAM BT_LE_ADV_PARAM(BT_LE_ADV_OPT_USE_IDENTITY, \
								  BT_GAP_ADV_SLOW_INT_MIN,    \
								  BT_GAP_ADV_SLOW_INT_MAX, NULL)

static uint8_t service_data[SERVICE_DATA_LEN] = {
	BT_UUID_16_ENCODE(SERVICE_UUID),
	0x40,
	0x01, /* Battery */
	0x61, /* in percent */
	0x02, /* Temperature */
	0x98, /* Low byte */
	0x08, /* High byte */
	0x03, /* Humidity */
	0xbf, /* 50.55%  low byte*/
	0x13, /* 50.55%  high byte*/
	0x09, /* 8bit count used to communicate error flags*/
	0x00,
	0x2D, /* Default State is 0 -> FALSE and OFF/CLOSED and 1 -> TRUE and ON/OPEN*/
	0x00,
};

static struct bt_data ad[] = {
	BT_DATA_BYTES(BT_DATA_FLAGS, BT_LE_AD_GENERAL | BT_LE_AD_NO_BREDR),
	BT_DATA(BT_DATA_NAME_COMPLETE, CONFIG_BT_DEVICE_NAME, sizeof(CONFIG_BT_DEVICE_NAME) - 1),
	BT_DATA(BT_DATA_SVC_DATA16, service_data, ARRAY_SIZE(service_data))};

static void bt_ready(int err)
{
	if (err)
	{
		LOG_DBG("Bluetooth init failed (err %d)\n", err);
		return;
	}

	LOG_DBG("Bluetooth initialized\n");

	/* Start advertising */
	err = bt_le_adv_start(ADV_PARAM, ad, ARRAY_SIZE(ad), NULL, 0);
	if (err)
	{
		LOG_DBG("Advertising failed to start (err %d)\n", err);
		return;
	}
}




int main(void)
{

	pm_device_action_run(uart_dev, PM_DEVICE_ACTION_RESUME);
	pm_device_action_run(i2c_dev, PM_DEVICE_ACTION_RESUME);

	//setup_rtc_wakeup(); // Configure RTC compare event

	int err;

	sensors_init();
	// LOG_INF("Starting Lesson 2 - Exercise 1 \n");

	// /* STEP 5 - Enable the Bluetooth LE stack */
	// err = bt_enable(NULL);
	// if (err) {
	// 	LOG_ERR("Bluetooth init failed (err %d)\n", err);
	// 	return -1;
	// }

	// LOG_INF("Bluetooth initialized\n");

	// /* STEP 6 - Start advertising */
	// err = bt_le_adv_start(BT_LE_ADV_NCONN, ad, ARRAY_SIZE(ad), sd, ARRAY_SIZE(sd));
	// if (err) {
	// 	LOG_ERR("Advertising failed to start (err %d)\n", err);
	// 	return -1;
	// }

	// LOG_INF("Advertising successfully started\n");
	LOG_INF("Starting Initialization of all Interfaces\n");
	LOG_INF("Version_Tag: 2024-11-07_v0.5.0\n");

	// BLE INIT and Setup for BTHome

	int door_state = sensor_get_door_state();
	// wake up timer
	// K_TIMER_DEFINE(wakeup_timer, wakeup_handler, NULL);
	// void wakeup_handler(struct k_timer * timer_id)
	// {
	// 	// Trigger wakeup logic or post an event
	// }

	/* Initialize the Bluetooth Subsystem */
	err = bt_enable(bt_ready);
	if (err)
	{
		LOG_INF("Bluetooth init failed (err %d)\n", err);
		return 0;
	}



	struct sensor_value temp, hum;
	temp.val1 = 110;
	temp.val2 = 110;
	hum.val1 = 110;
	hum.val2 = 110;

	LOG_INF("Initialization of all Interfaces DONE!\n");
	LOG_INF("Entering Main Loop\n");

	while (true)
	{

		// uint32_t reason = NRF_POWER->RESETREAS;
		// LOG_INF("Reset reason: 0x%08x", reason);

		// if (reason & POWER_RESETREAS_RESETPIN_Msk)
		// {
		// 	LOG_INF("Reset from pin");
		// }
		// if (reason & POWER_RESETREAS_LPCOMP_Msk)
		// {
		// 	LOG_INF("Woke up from LPCOMP");
		// }
		// if (reason & POWER_RESETREAS_OFF_Msk)
		// {
		// 	LOG_INF("Wakeup caused by GPIO");
		// }
		// NRF_POWER->RESETREAS = 0xFFFFFFFF; // Clear flags
		get_pmic_sensors();

		temp = sensor_sht4x_get_temperature();
		hum = sensor_sht4x_get_humidity();


		LOG_DBG("SHT4X: %.2f Temp. [C] ; %0.2f RH [%%]\n",
				sensor_value_to_double(&temp),
				sensor_value_to_double(&hum));

		//
		get_adc_data();
		uint16_t bat_percentage = get_pmic_battery_percent();
		// converting Measurements to BTHome protocol
		int16_t ble_temp = (floor(sensor_value_to_double(&temp) * 100));
		uint16_t ble_hum = (floor(sensor_value_to_double(&hum) * 100));

		// see https://bthome.io/format/ for details on the format
		// https://www.reddit.com/r/microcontrollers/comments/1342j4u/splitting_16bit_int_to_8bit/
		service_data[IDX_TEMPH] = (ble_temp & 0xff00) >> 8;
		service_data[IDX_TEMPL] = ble_temp & 0xff;
		service_data[IDX_HUMH] = (ble_hum & 0xff00) >> 8;
		service_data[IDX_HUML] = ble_hum & 0xff;
		service_data[IDX_BAT] = bat_percentage;			  // Needs to be changed -> ADC Measurement of Voltage from battery needed here
		service_data[IDX_WINDOW_STATE] = door_state; // read the door state and update the service data
		service_data[IDX_ERROR] = error_flags_get(); // read error flags and update service data
		LOG_DBG("TEMP: transformed %x, Shifted: %x,%x\n", ble_temp, service_data[IDX_TEMPH], service_data[IDX_TEMPL]);
		LOG_DBG("HUM: transformed %x, Shifted: %x,%x\n", ble_hum, service_data[IDX_HUMH], service_data[IDX_HUML]);

		// set data via ble and BTHome
		LOG_HEXDUMP_INF(service_data, sizeof(service_data), "Service Data:");
		for (int i = 0; i < ARRAY_SIZE(ad); i++)
		{
			LOG_HEXDUMP_INF(ad[i].data, ad[i].data_len, "AD Payload:");
		}

		err = bt_le_adv_update_data(ad, ARRAY_SIZE(ad), NULL, 0);
		if (err)
		{
			LOG_DBG("Failed to update advertising data (err %d)\n", err);
		}
		LOG_DBG("Updated advertising data \n");
		k_sleep(K_MSEC(100));
		

		if (door_state == 0)
		{
			LOG_INF("Door is CLOSED - Entering Soft Off Mode\n");
			nrf_gpio_cfg_sense_input(door.pin, NRF_GPIO_PIN_PULLUP, NRF_GPIO_PIN_SENSE_HIGH);
		}
		else
		{
			LOG_INF("Door is OPEN - Entering Soft Off Mode\n");
			nrf_gpio_cfg_sense_input(door.pin, NRF_GPIO_PIN_PULLUP, NRF_GPIO_PIN_SENSE_LOW);
		}

		k_sleep(K_MSEC(100)); // needed to ensure that logging is outputted before entering power down mode
		// pm_device_action_run(uart_dev, PM_DEVICE_ACTION_SUSPEND);
		// pm_device_action_run(i2c_dev, PM_DEVICE_ACTION_SUSPEND);

		k_sleep(K_MSEC(SLEEP_TIME_M)); 
		// suspend unused devices to save power


		// NRF_POWER->SYSTEMOFF = 1; // Enter System Off Mode via direct register access
		//  pm_state_force(0, &(struct pm_state_info){
		//  					  .state = PM_STATE_SOFT_OFF,
		//  					  .substate_id = 0,
		//  				  }); // Enter Soft Off Mode via PM API - recommended way

		//NRF_RTC1->EVENTS_COMPARE[0] = 0;
		// LOG_INF("Entering idle sleep...");
		// __WFI(); // Wait For Interrupt
	}
}
```

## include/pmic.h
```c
#include <zephyr/drivers/regulator.h>
#include <zephyr/drivers/sensor.h>
#include <zephyr/drivers/sensor/npm1300_charger.h>
#include <zephyr/dt-bindings/regulator/npm1300.h>
#include <zephyr/drivers/mfd/npm1300.h>


#define SW_LSW1 DT_NODELABEL(loadsw0)
//#define SW_TEST DT_NODELABEL(loadsw1)

static const struct gpio_dt_spec lsw1 = GPIO_DT_SPEC_GET(SW_LSW1, gpios);
//static const struct gpio_dt_spec swtest = GPIO_DT_SPEC_GET(SW_TEST, gpios);

// PMIC stuff
static const struct device *regulators = DEVICE_DT_GET(DT_NODELABEL(npm1300_ek_regulators));

static const struct device *charger = DEVICE_DT_GET(DT_NODELABEL(npm1300_ek_charger));

static const struct device *leds = DEVICE_DT_GET(DT_NODELABEL(npm1300_ek_leds));

static const struct device *pmic = DEVICE_DT_GET(DT_NODELABEL(npm1300_ek_pmic));


void read_sensors(void);
```

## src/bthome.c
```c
#include "bthome.h"

static int bthome_init(void)
{
	if (err)
	{
		LOG_DBG("Bluetooth init failed (err %d)\n", err);
		return;
	}

	LOG_DBG("Bluetooth initialized\n");

	/* Start advertising */
	err = bt_le_adv_start(ADV_PARAM, ad, ARRAY_SIZE(ad), NULL, 0);
	if (err)
	{
		LOG_DBG("Advertising failed to start (err %d)\n", err);
		return;
	}
}

static int bthome_send_data(service_data)
{
		// set data via ble and BTHome
		LOG_HEXDUMP_INF(service_data, sizeof(service_data), "Service Data:");
		for (int i = 0; i < ARRAY_SIZE(ad); i++)
		{
			LOG_HEXDUMP_INF(ad[i].data, ad[i].data_len, "AD Payload:");
		}

		err = bt_le_adv_update_data(ad, ARRAY_SIZE(ad), NULL, 0);
		if (err)
		{
			LOG_DBG("Failed to update advertising data (err %d)\n", err);
		}
		LOG_DBG("Updated advertising data \n");

}

int bthome_encode(uint8_t *buf, size_t len, const service_data_t *data) {
    if (len < SERVICE_DATA_LEN) return -ENOMEM;

    buf[0] = SERVICE_UUID & 0xFF;
    buf[1] = (SERVICE_UUID >> 8) & 0xFF;
    buf[2] = 0x40;         // BTHome header

    buf[3] = 0x01;         // Battery
    buf[4] = data->battery_mv / 10;  // Simplified

    buf[5] = 0x02;         // Temperature
    int16_t temp_encoded = (int16_t)(data->temperature * 100);
    buf[6] = temp_encoded & 0xFF;
    buf[7] = (temp_encoded >> 8) & 0xFF;

    buf[8] = 0x03;         // Humidity
    buf[9] = 0x00;         // (populate if available)
    buf[10] = 0x00;

    buf[11] = 0x09;        // State
    buf[12] = data->door_open ? 1 : 0;

    return SERVICE_DATA_LEN;
}
```

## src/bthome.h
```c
#pragma once

#include <zephyr/bluetooth/bluetooth.h>
#include <zephyr/bluetooth/uuid.h>

// BLE and BTHome Service Data
#define DEVICE_NAME CONFIG_BT_DEVICE_NAME

#define SERVICE_DATA_LEN 13 // 13
#define SERVICE_UUID 0xfcd2 /* BTHome service UUID */
#define IDX_BAT 4			/* Index of byte of Bat in service data*/
#define IDX_TEMPL 6			/* Index of lo byte of temp in service data*/
#define IDX_TEMPH 7			/* Index of hi byte of temp in service data*/
#define IDX_HUML 9			/* Index of lo byte of temp in service data*/
#define IDX_HUMH 10			/* Index of hi byte of temp in service data*/
#define IDX_STATE 12		/* Index of byte of count in service data*/

#define ADV_PARAM BT_LE_ADV_PARAM(BT_LE_ADV_OPT_USE_IDENTITY, \
								  BT_GAP_ADV_SLOW_INT_MIN,    \
								  BT_GAP_ADV_SLOW_INT_MAX, NULL)

static uint8_t service_data[SERVICE_DATA_LEN] = {
	BT_UUID_16_ENCODE(SERVICE_UUID),
	0x40,
	0x01, /* Battery */
	0x61, /* in percent */
	0x02, /* Temperature */
	0x98, /* Low byte */
	0x08, /* High byte */
	0x03, /* Humidity */
	0xbf, /* 50.55%  low byte*/
	0x13, /* 50.55%  high byte*/
	0x09, /* 8bit count used to communicate a state ON/OFF or OPEN/CLOSE*/
	0x2D, /* Window State: 0 (False = Closed) 1 (True = Open)  / 
};

static struct bt_data ad[] = {
	BT_DATA_BYTES(BT_DATA_FLAGS, BT_LE_AD_GENERAL | BT_LE_AD_NO_BREDR),
	BT_DATA(BT_DATA_NAME_COMPLETE, CONFIG_BT_DEVICE_NAME, sizeof(CONFIG_BT_DEVICE_NAME) - 1),
	BT_DATA(BT_DATA_SVC_DATA16, service_data, ARRAY_SIZE(service_data))};

static int bthome_init(void);

static int bthome_send_data(service_data);

int bthome_encode(uint8_t *buf, size_t len, const service_data_t *data);


//Object ids by order
#if 0
#define ID_PACKET				0x00
#define ID_BATTERY				0x01
#define ID_TEMPERATURE_PRECISE 	0x02
#define ID_HUMIDITY_PRECISE 	0x03
#define ID_PRESSURE 			0x04
#define ID_ILLUMINANCE			0x05
#define ID_MASS					0x06
#define ID_MASSLB				0x07
#define ID_DEWPOINT				0x08
#define ID_COUNT				0x09
#define ID_ENERGY				0x0A
#define ID_POWER				0x0B
#define ID_VOLTAGE				0x0C
#define ID_PM25					0x0D
#define ID_PM10					0x0E
#define STATE_GENERIC_BOOLEAN	0x0F
#define STATE_POWER_ON			0x10
#define STATE_OPENING			0x11
#define ID_CO2					0x12
#define ID_TVOC					0x13
#define ID_MOISTURE_PRECISE		0x14
#define STATE_BATTERY_LOW		0x15
#define STATE_BATTERY_CHARHING	0x16
#define STATE_CO				0x17
#define STATE_COLD				0x18
#define STATE_CONNECTIVITY		0x19
#define STATE_DOOR				0x1A
#define STATE_GARAGE_DOOR		0x1B
#define STATE_GAS_DETECTED		0x1C
#define STATE_HEAT				0x1D
#define STATE_LIGHT				0x1E
#define STATE_LOCK				0x1F
#define STATE_MOISTURE			0x20
#define STATE_MOTION			0x21
#define STATE_MOVING			0x22
#define STATE_OCCUPANCY			0x23
#define STATE_PLUG				0x24
#define STATE_PRESENCE			0x25
#define STATE_PROBLEM			0x26
#define STATE_RUNNING			0x27
#define STATE_SAFETY			0x28
#define STATE_SMOKE				0x29
#define STATE_SOUND				0x2A
#define STATE_TAMPER			0x2B
#define STATE_VIBRATION			0x2C
#define STATE_WINDOW			0x2D
#define ID_HUMIDITY				0x2E
#define ID_MOISTURE				0x2F
#define EVENT_BUTTON			0x3A
#define EVENT_DIMMER			0x3C
#define ID_COUNT2				0x3D
#define ID_COUNT4				0x3E
#define ID_ROTATION				0x3F
#define ID_DISTANCE				0x40
#define ID_DISTANCEM			0x41
#define ID_DURATION				0x42
#define ID_CURRENT				0x43
#define ID_SPD					0x44
#define ID_TEMPERATURE			0x45
#define ID_UV					0x46
#define ID_VOLUME1				0x47
#define ID_VOLUME2				0x48
#define ID_VOLUMEFR				0x49
#define ID_VOLTAGE1				0x4A
#define ID_GAS					0x4B
#define ID_GAS4					0x4C
#define ID_ENERGY4				0x4D
#define ID_VOLUME				0x4E
#define ID_WATER				0x4F
#endif
```

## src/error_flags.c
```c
#include "error_flags.h"

static uint8_t error_flags = ERR_NONE;

void error_flags_set(uint8_t err_mask)
{
    error_flags |= err_mask;
}

void error_flags_clear(uint8_t err_mask)
{
    error_flags &= ~err_mask;
}

bool error_flags_is_set(uint8_t err_mask)
{
    return (error_flags & err_mask) != 0;
}

uint8_t error_flags_get(void)
{
    return error_flags;
}

void error_flags_reset(void)
{
    error_flags = ERR_NONE;
}
```

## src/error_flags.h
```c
#pragma once

#include <stdint.h>
#include <stdbool.h>

#define ERR_NONE           0x00
#define ERR_SENSOR_FAIL    0x01  // Bit 0
#define ERR_STORAGE_FULL   0x02  // Bit 1
#define ERR_COMM_TIMEOUT   0x04  // Bit 2
#define ERR_OVERHEAT       0x08  // Bit 3
#define ERR_LOW_BATTERY    0x10  // Bit 4
// Add more as needed

void error_flags_set(uint8_t err_mask);
void error_flags_clear(uint8_t err_mask);
bool error_flags_is_set(uint8_t err_mask);
uint8_t error_flags_get(void);
void error_flags_reset(void);
```

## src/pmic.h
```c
#pragma once

#include <zephyr/drivers/regulator.h>
#include <zephyr/drivers/sensor.h>
#include <zephyr/drivers/sensor/npm1300_charger.h>
#include <zephyr/dt-bindings/regulator/npm1300.h>
#include <zephyr/drivers/mfd/npm1300.h>


#define SW_LSW1 DT_NODELABEL(loadsw0)
//#define SW_TEST DT_NODELABEL(loadsw1)

static const struct gpio_dt_spec lsw1 = GPIO_DT_SPEC_GET(SW_LSW1, gpios);
//static const struct gpio_dt_spec swtest = GPIO_DT_SPEC_GET(SW_TEST, gpios);

// PMIC stuff
static const struct device *regulators = DEVICE_DT_GET(DT_NODELABEL(npm1300_ek_regulators));

static const struct device *charger = DEVICE_DT_GET(DT_NODELABEL(npm1300_ek_charger));

static const struct device *leds = DEVICE_DT_GET(DT_NODELABEL(npm1300_ek_leds));

static const struct device *pmic = DEVICE_DT_GET(DT_NODELABEL(npm1300_ek_pmic));




void get_pmic_sensors(void);

uint16_t get_pmic_battery_percent(void);
```

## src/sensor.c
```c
#include "sensor.h"




void sensor_test(void)
{
    int err;
	int ret;
	int temp=0;
	// Sensor
	struct sensor_value temp, hum, gas;
	//	PMIC init stuff
	if (!device_is_ready(pmic)) {
		printk("Pmic device not ready.\n");
		return;
	}

	if (!device_is_ready(regulators)) {
		printk("Error: Regulator device is not ready\n");
		return 0;
	}

	if (!device_is_ready(charger)) {
		printk("Charger device not ready.\n");
		return 0;
	}
}
```

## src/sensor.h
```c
#include <zephyr/device.h>
#include <zephyr/drivers/sensor.h>
#include <zephyr/drivers/sensor/sgp40.h>


//SHT40 Sensor stuff
#if !DT_HAS_COMPAT_STATUS_OKAY(sensirion_sht4x)
#error "No sensirion,sht4x compatible node found in the device tree"
#endif
```

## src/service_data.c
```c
#include "service_data.h"
#include "sensors.h"
#include "pmic.h"
#include "sleep.h"

void service_data_reset(service_data_t *data) {
    if (data) {
        *data = (service_data_t){0};
    }
}

void service_data_compose(service_data_t *data) {
    if (!data) return;
    service_data_reset(data);

    data->temperature_c = sensor_get_temperature();
    data->humidity_pct = sensor_get_humidity();
    data->battery_mv = sensor_get_battery_mv();
    data->door_open = sensor_get_door_state();
}
```
